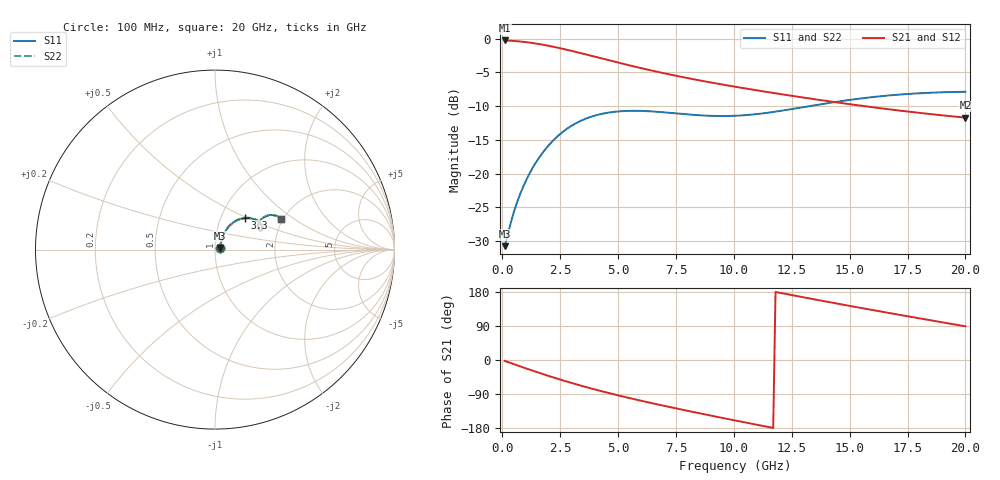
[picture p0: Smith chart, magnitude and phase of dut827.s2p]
! Touchstone file exported from HFSS 2024.1.0
!  File:  C:/UserFiles/LocalFiles/RDL_TSV_Batchsim/temp_RDL_TSV_827_1779917023.aedt
!  Generated:  05:42:11 AM May 28, 2026
!  Design:  RDL_TSV
!  Project:  temp_RDL_TSV_827_1779917023
!  Setup:  Setup1
!  Solution:  Sweep
! Variables:
!  dtsv = 7.71um
!  hbump = 3um
!  htsv = 83.68um
!  ldown = 692.65um
!  lrdl = 473.95um
!  p = 40
!  p1 = 47.05um
!  rhole = 10um
!  subl = 3973.75um
!  t = 450um
!  tdown = 3.8um
!  trdl = 2.92um
!  viad = 10um
!  wdown = 18.97um
!  wrdl = 13.63um
!  xbump = 18um
# GHz S MA R 50.000000
! Terminal data exported
! Port[1] = TM1_1_T1
! Port[2] = TM1_4_T1
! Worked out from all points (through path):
!   200 points, 100 MHz to 20 GHz, reference 50 ohm
!   highest |S21| = -0.24 dB at 100 MHz (marker M1); lowest = -11.7 dB at 20 GHz (marker M2)
!   group delay of S21, straight-line fit = 35.9 ps
!   lowest |S11| = -30.8 dB at 100 MHz (marker M3), VSWR 1.06, Z = 52.8 + j0.908 ohm
!   |S11| at or under -10 dB: start of sweep to 13.25 GHz
!   |S22| runs from -30.8 to -7.8 dB; largest |S21 - S12| = 1e-14
!   S11 on the Smith chart (normalised r, x): 100 MHz: 1.06, +0.02; 3.3 GHz: 1.30, +0.48; 20 GHz: 1.95, +0.79
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0.1  0.02891 17.3  0.9723 -2.2  0.9723 -2.2  0.02891 17.3
! Gamma 0 0 0 0
! Port Impedance 50 0 50 0
0.4  0.04526 45.4  0.9667 -8.8  0.9667 -8.8  0.04525 45.4
0.7  0.06547 55.1  0.9578 -15.3  0.9578 -15.3  0.06546 55.2
1  0.08699 59.2  0.9459 -21.7  0.9459 -21.7  0.08698 59.3
1.4  0.1169 60.4  0.9256 -30.0  0.9256 -30.0  0.1169 60.6
1.9  0.1545 58.7  0.8945 -40.0  0.8945 -40.0  0.1547 58.9
2.3  0.1831 55.8  0.8664 -47.8  0.8664 -47.8  0.1835 56.0
2.8  0.2153 51.4  0.8287 -57.1  0.8287 -57.1  0.2159 51.6
3.3  0.2421 46.6  0.79 -66.0  0.79 -66.0  0.2429 46.8
3.5  0.2512 44.6  0.7745 -69.5  0.7745 -69.5  0.252 44.9
4.2  0.275 38.2  0.7219 -81.0  0.7219 -81.0  0.2762 38.5
5.1  0.2899 31.3  0.6598 -94.8  0.6598 -94.8  0.2916 31.5
5.9  0.2919 26.7  0.6112 -106.2  0.6112 -106.2  0.2939 26.9
6.8  0.2865 23.5  0.5639 -118.5  0.5639 -118.5  0.2888 23.7
8.4  0.2716 22.8  0.4958 -139.1  0.4958 -139.1  0.2743 22.8
10.1  0.2686 27.1  0.4395 -160.1  0.4395 -160.1  0.2714 26.9
11.6  0.2848 31.4  0.3989 -178.1  0.3989 -178.1  0.2871 31.1
13.4  0.3193 33.6  0.358 160.9  0.358 160.9  0.3212 33.3
15  0.352 32.8  0.3273 142.8  0.3273 142.8  0.3535 32.5
16.7  0.3799 30.3  0.2998 124.1  0.2998 124.1  0.3812 30.1
18.3  0.3967 27.5  0.2785 106.9  0.2785 106.9  0.3978 27.3
20  0.4046 24.7  0.26 88.9  0.26 88.9  0.4057 24.5
